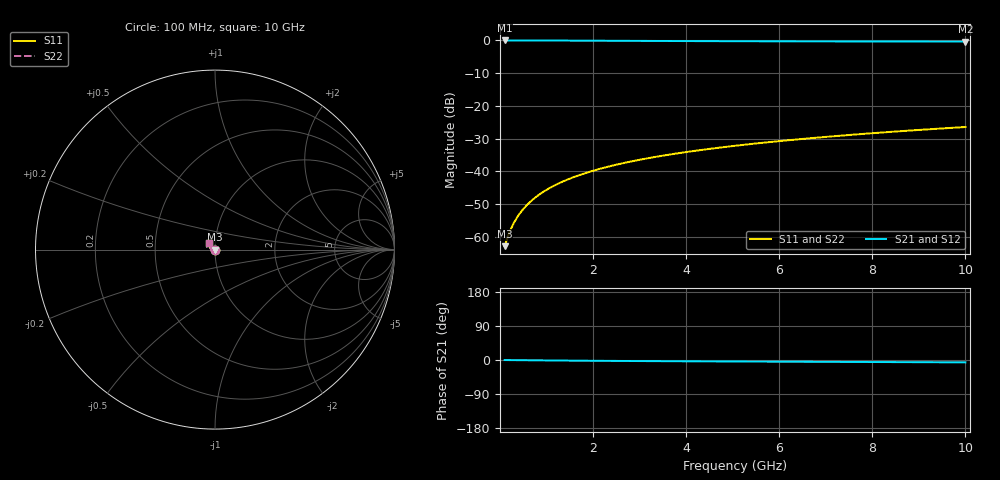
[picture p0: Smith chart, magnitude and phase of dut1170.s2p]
! Touchstone file exported from HFSS 2024.1.0
!  File:  C:/UserFiles/LocalFiles/RDL_TSV_Batchsim/temp_TSV1_1170_1780073641.aedt
!  Generated:  01:00:18 AM May 30, 2026
!  Design:  TSV1
!  Project:  temp_TSV1_1170_1780073641
!  Setup:  Setup1
!  Solution:  Sweep
! Variables:
!  dtsv = 5.47um
!  hbump = 3um
!  htsv = 89.66um
!  lrdl = 252.1521522um
!  p = 40
!  p1 = 57.55um
!  t = 500um
!  trdl = 3um
!  wrdl = 24.89489489um
# GHz S MA R 50.000000
! Terminal data exported
! Port[1] = TSV22_T1
! Port[2] = TSV22_T2
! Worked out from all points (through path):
!   100 points, 100 MHz to 10 GHz, reference 50 ohm
!   highest |S21| = 0.00 dB at 100 MHz (marker M1); lowest = -0.3 dB at 10 GHz (marker M2)
!   lowest |S11| = -62.9 dB at 100 MHz (marker M3), VSWR 1.00, Z = 50 - j0.0535 ohm
!   |S11| at or under -10 dB: start of sweep to end of sweep
!   |S22| runs from -62.9 to -26.5 dB; largest |S21 - S12| = 9e-15
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0.1  0.0007171 -48.2  0.9995 -0.1  0.9995 -0.1  0.0007171 -48.2
! Gamma 0 0 0 0
! Port Impedance 50 0 50 0
0.2  0.001154 -69.4  0.9994 -0.2  0.9994 -0.2  0.001154 -69.4
0.3  0.00164 -80.3  0.9992 -0.3  0.9992 -0.3  0.00164 -80.3
0.4  0.002141 -87.4  0.999 -0.5  0.999 -0.5  0.002141 -87.4
0.5  0.002649 -92.9  0.9988 -0.6  0.9988 -0.6  0.002649 -92.9
0.6  0.003159 -97.5  0.9985 -0.7  0.9985 -0.7  0.003159 -97.5
0.7  0.003671 -101.5  0.9982 -0.8  0.9982 -0.8  0.003671 -101.5
0.8  0.004182 -105.3  0.9978 -0.9  0.9978 -0.9  0.004182 -105.3
0.9  0.004692 -108.7  0.9974 -1.0  0.9974 -1.0  0.004692 -108.7
1.1  0.005708 -115.2  0.9965 -1.2  0.9965 -1.2  0.005708 -115.2
1.4  0.007221 -124.0  0.9949 -1.5  0.9949 -1.5  0.007221 -124.0
1.8  0.009209 -134.6  0.9924 -1.9  0.9924 -1.9  0.009209 -134.6
2.1  0.01068 -142.0  0.9904 -2.1  0.9904 -2.1  0.01068 -142.0
2.5  0.01261 -151.0  0.9876 -2.4  0.9876 -2.4  0.01261 -151.0
2.9  0.01452 -159.2  0.985 -2.7  0.985 -2.7  0.01452 -159.2
3.4  0.01687 -168.4  0.9818 -3.0  0.9818 -3.0  0.01687 -168.4
4.2  0.0206 179.0  0.9773 -3.5  0.9773 -3.5  0.02059 179.0
5.1  0.02476 167.4  0.9731 -4.0  0.9731 -4.0  0.02476 167.4
5.9  0.02846 158.9  0.9701 -4.3  0.9701 -4.3  0.02846 158.9
6.7  0.03216 151.8  0.9676 -4.7  0.9676 -4.7  0.03216 151.8
8.4  0.04006 139.8  0.9636 -5.5  0.9636 -5.5  0.04006 139.8
10  0.04752 131.4  0.9608 -6.3  0.9608 -6.3  0.04752 131.4
